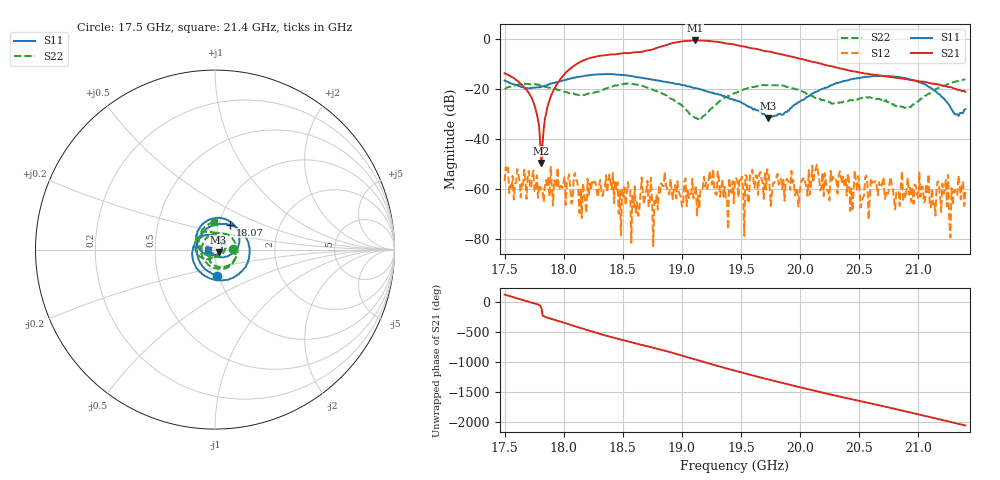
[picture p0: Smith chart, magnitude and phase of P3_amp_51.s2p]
!Created with skrf (http://scikit-rf.org).
# GHz S RI R 50.0
!freq ReS11 ImS11 ReS21 ImS21 ReS12 ImS12 ReS22 ImS22
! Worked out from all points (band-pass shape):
!   401 points, 17.5 GHz to 21.4 GHz, reference 50 ohm
!   highest |S21| = -0.74 dB at 19.11 GHz (marker M1); lowest = -49.7 dB at 17.81 GHz (marker M2)
!   |S21| within 3 dB of the highest: 18.79 GHz to 19.58 GHz (789.7 MHz wide, 4.12 % of centre)
!   lowest |S11| = -31.9 dB at 19.73 GHz (marker M3), VSWR 1.05, Z = 52 - j1.61 ohm
!   |S11| at or under -10 dB: start of sweep to end of sweep
!   |S22| runs from -32.2 to -16.3 dB; largest |S21 - S12| = 0.92
!   S11 on the Smith chart (normalised r, x): 17.5 GHz: 0.98, -0.29; 18.07 GHz: 1.13, +0.32; 21.4 GHz: 0.93, -0.00
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17.5  0.00904 -0.145  -0.1116 0.1697  -0.00119 0.000763  0.0975 0.00138
17.7145  -0.1018 -0.00587  0.0747 -0.00438  -0.000527 0.00107  0.0885 -0.0839
17.812  -0.0851 0.0687  -0.000836 -0.00315  -0.000618 0.000826  0.0421 -0.1071
17.89975  -0.0396 0.12  0.0169 0.0762  0.000698 0.000813  -0.0077 -0.1024
18.0655  0.0826 0.139  0.2373 -0.1124  0.000365 0.000347  -0.0722 -0.0378
18.15325  0.1409 0.104  0.061 -0.3479  -0.000236 -0.000107  -0.074 0.0182
18.32875  0.1915 -0.0288  -0.4579 0.0362  9.76e-05 -0.000706  0.0198 0.0917
18.50425  0.1057 -0.1542  0.0684 0.5085  0.000674 0.000156  0.1222 0.00806
18.67  -0.0261 -0.161  0.5501 0.0151  0.000607 -0.000607  0.0611 -0.0939
18.8065  -0.106 -0.098  0.2917 -0.6094  -0.000857 -0.000664  -0.00947 -0.0849
18.99175  -0.1173 0.0217  -0.8499 -0.196  -0.000659 -0.000227  -0.0348 -0.0333
19.10875  -0.0756 0.0704  -0.5278 0.7519  0.000158 0.000788  -0.0181 -0.0194
19.294  -0.000134 0.0785  0.8167 0.2975  0.000405 0.000629  -0.0199 -0.045
19.45  0.0342 0.0486  0.3149 -0.683  0.000533 0.00149  -0.0654 -0.0489
19.5475  0.0393 0.0241  -0.2946 -0.6091  0.0017 0.000688  -0.0957 -0.0271
19.606  0.037 0.00825  -0.5187 -0.3645  0.00149 -0.000112  -0.1073 -0.00331
19.73275  0.0202 -0.0155  -0.4878 0.2633  0.00194 -0.000812  -0.1037 0.0589
19.86925  -0.00888 -0.0317  0.0513 0.4655  0.000553 -0.000155  -0.0529 0.1
20.10325  -0.0783 -0.00703  0.3042 -0.1608  -0.00114 -0.00265  0.0146 0.0696
20.39575  -0.0889 0.1148  -0.2211 -0.0797  -0.000465 0.000561  0.00952 0.0561
20.7565  0.0858 0.1542  0.127 0.1168  0.00036 0.00113  0.0526 -0.00459
21.4  -0.0387 -0.000294  -0.023 0.0833  -8.14e-05 -0.00086  -0.00728 0.1537
